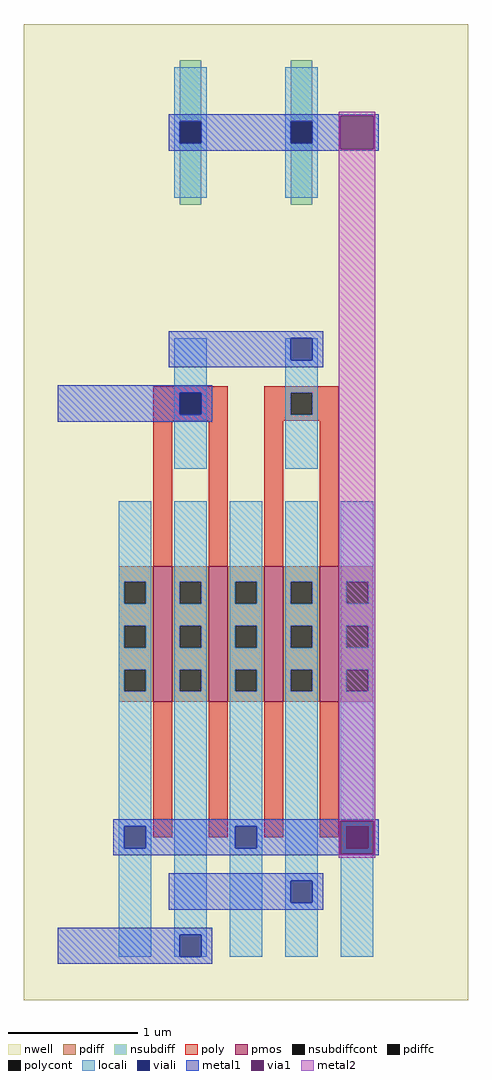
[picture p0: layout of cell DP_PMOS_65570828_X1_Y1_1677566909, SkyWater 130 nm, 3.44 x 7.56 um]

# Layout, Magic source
magic
tech sky130A
magscale 1 2
<< nwell >>
rect 0 0 688 1512
<< pmos >>
rect 200 462 230 672
rect 286 462 316 672
rect 372 462 402 672
rect 458 462 488 672
<< pdiff >>
rect 147 648 200 672
rect 147 614 155 648
rect 189 614 200 648
rect 147 580 200 614
rect 147 546 155 580
rect 189 546 200 580
rect 147 512 200 546
rect 147 478 155 512
rect 189 478 200 512
rect 147 462 200 478
rect 230 648 286 672
rect 230 614 241 648
rect 275 614 286 648
rect 230 580 286 614
rect 230 546 241 580
rect 275 546 286 580
rect 230 512 286 546
rect 230 478 241 512
rect 275 478 286 512
rect 230 462 286 478
rect 316 648 372 672
rect 316 614 327 648
rect 361 614 372 648
rect 316 580 372 614
rect 316 546 327 580
rect 361 546 372 580
rect 316 512 372 546
rect 316 478 327 512
rect 361 478 372 512
rect 316 462 372 478
rect 402 648 458 672
rect 402 614 413 648
rect 447 614 458 648
rect 402 580 458 614
rect 402 546 413 580
rect 447 546 458 580
rect 402 512 458 546
rect 402 478 413 512
rect 447 478 458 512
rect 402 462 458 478
rect 488 648 541 672
rect 488 614 499 648
rect 533 614 541 648
rect 488 580 541 614
rect 488 546 499 580
rect 533 546 541 580
rect 488 512 541 546
rect 488 478 499 512
rect 533 478 541 512
rect 488 462 541 478
<< pdiffc >>
rect 155 614 189 648
rect 155 546 189 580
rect 155 478 189 512
rect 241 614 275 648
rect 241 546 275 580
rect 241 478 275 512
rect 327 614 361 648
rect 327 546 361 580
rect 327 478 361 512
rect 413 614 447 648
rect 413 546 447 580
rect 413 478 447 512
rect 499 614 533 648
rect 499 546 533 580
rect 499 478 533 512
<< nsubdiff >>
rect 241 1361 275 1456
rect 241 1232 275 1327
rect 413 1361 447 1456
rect 413 1232 447 1327
<< nsubdiffcont >>
rect 241 1327 275 1361
rect 413 1327 447 1361
<< poly >>
rect 200 941 316 951
rect 200 907 241 941
rect 275 907 316 941
rect 200 897 316 907
rect 200 672 230 897
rect 286 672 316 897
rect 372 941 488 951
rect 372 907 413 941
rect 447 907 488 941
rect 372 897 488 907
rect 372 672 402 897
rect 458 672 488 897
rect 200 252 230 462
rect 286 252 316 462
rect 372 252 402 462
rect 458 252 488 462
<< polycont >>
rect 241 907 275 941
rect 413 907 447 941
<< locali >>
rect 233 1361 283 1445
rect 233 1327 241 1361
rect 275 1327 283 1361
rect 233 1243 283 1327
rect 405 1361 455 1445
rect 405 1327 413 1361
rect 447 1327 455 1361
rect 405 1243 455 1327
rect 233 941 283 1025
rect 233 907 241 941
rect 275 907 283 941
rect 233 823 283 907
rect 405 991 413 1025
rect 447 991 455 1025
rect 405 941 455 991
rect 405 907 413 941
rect 447 907 455 941
rect 405 823 455 907
rect 147 648 197 773
rect 147 614 155 648
rect 189 614 197 648
rect 147 580 197 614
rect 147 546 155 580
rect 189 546 197 580
rect 147 512 197 546
rect 147 478 155 512
rect 189 478 197 512
rect 147 269 197 478
rect 147 235 155 269
rect 189 235 197 269
rect 147 67 197 235
rect 233 648 283 773
rect 233 614 241 648
rect 275 614 283 648
rect 233 580 283 614
rect 233 546 241 580
rect 275 546 283 580
rect 233 512 283 546
rect 233 478 241 512
rect 275 478 283 512
rect 233 101 283 478
rect 233 67 241 101
rect 275 67 283 101
rect 319 648 369 773
rect 319 614 327 648
rect 361 614 369 648
rect 319 580 369 614
rect 319 546 327 580
rect 361 546 369 580
rect 319 512 369 546
rect 319 478 327 512
rect 361 478 369 512
rect 319 269 369 478
rect 319 235 327 269
rect 361 235 369 269
rect 319 67 369 235
rect 405 648 455 773
rect 405 614 413 648
rect 447 614 455 648
rect 405 580 455 614
rect 405 546 413 580
rect 447 546 455 580
rect 405 512 455 546
rect 405 478 413 512
rect 447 478 455 512
rect 405 185 455 478
rect 405 151 413 185
rect 447 151 455 185
rect 405 67 455 151
rect 491 648 541 773
rect 491 614 499 648
rect 533 614 541 648
rect 491 580 541 614
rect 491 546 499 580
rect 533 546 541 580
rect 491 512 541 546
rect 491 478 499 512
rect 533 478 541 512
rect 491 269 541 478
rect 491 235 499 269
rect 533 235 541 269
rect 491 67 541 235
<< viali >>
rect 241 1327 275 1361
rect 413 1327 447 1361
rect 241 907 275 941
rect 413 991 447 1025
rect 155 235 189 269
rect 241 67 275 101
rect 327 235 361 269
rect 413 151 447 185
rect 499 235 533 269
<< metal1 >>
rect 224 1370 550 1372
rect 224 1361 490 1370
rect 224 1327 241 1361
rect 275 1327 413 1361
rect 447 1327 490 1361
rect 224 1318 490 1327
rect 542 1318 550 1370
rect 224 1316 550 1318
rect 224 1025 464 1036
rect 224 991 413 1025
rect 447 991 464 1025
rect 224 980 464 991
rect 52 941 292 952
rect 52 907 241 941
rect 275 907 292 941
rect 52 896 292 907
rect 138 278 550 280
rect 138 269 490 278
rect 138 235 155 269
rect 189 235 327 269
rect 361 235 490 269
rect 138 226 490 235
rect 542 226 550 278
rect 138 224 550 226
rect 224 185 464 196
rect 224 151 413 185
rect 447 151 464 185
rect 224 140 464 151
rect 52 101 292 112
rect 52 67 241 101
rect 275 67 292 101
rect 52 56 292 67
<< via1 >>
rect 490 1318 542 1370
rect 490 269 542 278
rect 490 235 499 269
rect 499 235 533 269
rect 533 235 542 269
rect 490 226 542 235
<< metal2 >>
rect 488 1370 544 1376
rect 488 1318 490 1370
rect 542 1318 544 1370
rect 488 278 544 1318
rect 488 226 490 278
rect 542 226 544 278
rect 488 220 544 226
<< end >>
